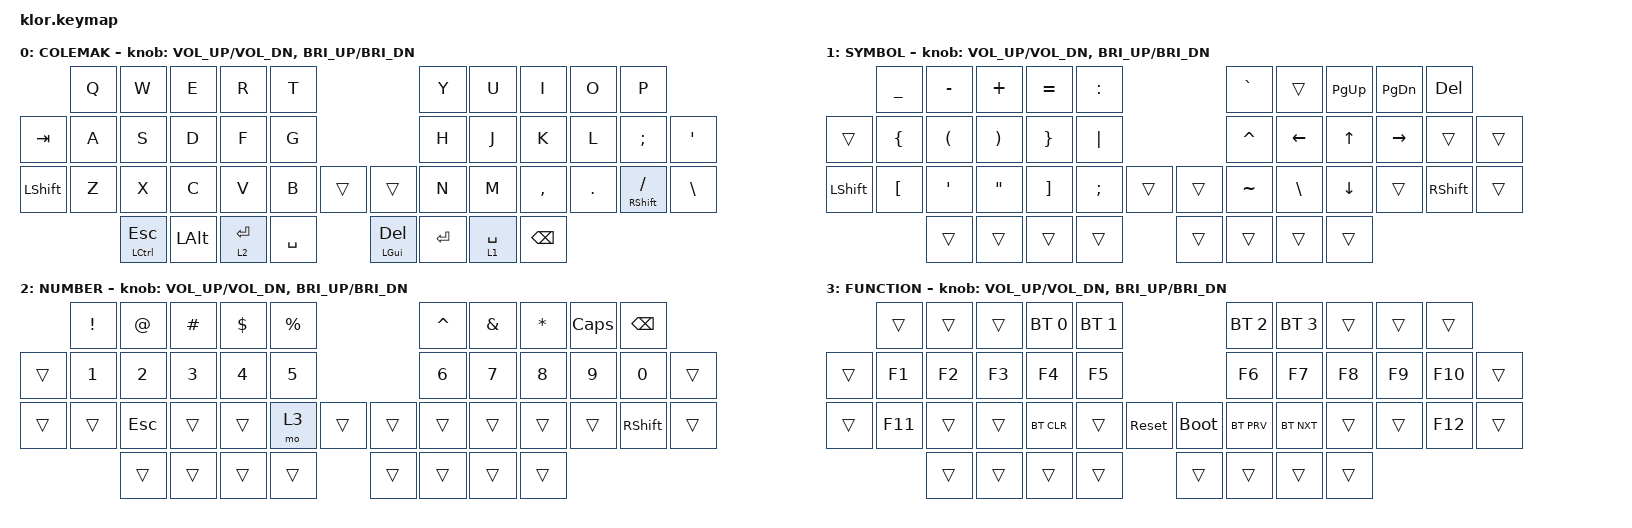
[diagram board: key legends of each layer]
#include <behaviors.dtsi>
#include <dt-bindings/zmk/bt.h>
#include <dt-bindings/zmk/keys.h>

&lt { quick-tap-ms = <0>; };

// keep it high until you're familiar with keyboard to avoid misclicks
// later lower it to <= 200
&mt {
    tapping-term-ms = <200>;
};

// DO NOT MAKE LAYER LABELS LARGER

/ {
    keymap {
        compatible = "zmk,keymap";

// ▄▄▄▄▄▄▄▄▄▄▄▄▄▄▄▄▄▄▄▄▄▄▄▄▄▄▄▄▄▄▄▄▄▄▄▄▄▄▄▄▄▄▄▄▄▄▄▄▄▄▄▄▄▄▄▄▄▄▄▄▄▄▄▄▄▄▄▄▄▄▄▄▄▄▄▄▄▄▄▄▄▄▄▄▄▄▄▄▄▄▄▄▄▄▄▄▄▄▄▄▄▄▄▄▄▄▄▄▄▄▄▄▄▄▄▄▄▄▄▄▄▄▄▄▄▄▄▄▄▄▄▄▄▄▄▄▄▄▄▄▄▄

 colemak {
// ┌───────────────────────────────────────────────────────────┐
display-name = "COLEMAK"                                       ;
// └───────────────────────────────────────────────────────────┘
/*           ┌─────────┬─────────┬─────────┬─────────┬─────────┐                    ┌─────────┬─────────┬─────────┬─────────┬─────────┐
             │    Q    │    W    │    E    │    R    │    T    │                    │    Y    │    U    │    I    │    O    │    P    │   
   ┌─────────┼─────────┼─────────┼─────────┼─────────┼─────────┤                    ├─────────┼─────────┼─────────┼─────────┼─────────┼─────────┐
   │   TAB   │    A    │    S    │    D    │    F    │    G    │                    │    H    │    J    │    K    │    L    │    ;    │    "    │
   ├─────────┼─────────┼─────────┼─────────┼─────────┼─────────┤╭────────╮╭────────╮├─────────┼─────────┼─────────┼─────────┼─────────┼─────────┤
   │   DEL   │    Z    │    X    │    C    │    V    │    B    ││  MUTE  ││PLY/PSE ││    N    │    M    │    ,    │    .    │    /    │    \    │
   └─────────┴─────────┴─────────┼─────────┼─────────┼─────────┼╰────────╯╰────────╯┼─────────┼─────────┼─────────┼─────────┴─────────┴─────────┘
                                 │  CTRL   │  ALT    │  LOWER  │   SPACE ││ CMD/WIN │  ENTER  │  RAISE  │  BSPCE  │  
                                 └─────────┴─────────┴─────────┴─────────┘└─────────┴─────────┴─────────┴─────────┘ */ 
 bindings = <
 //╷         ╷         ╷         ╷         ╷         ╷         ╷         ╷╷         ╷         ╷         ╷         ╷         ╷         ╷         ╷
              &kp Q     &kp W     &kp E     &kp R     &kp T                          &kp Y     &kp U     &kp I     &kp O     &kp P
    &kp TAB   &kp A     &kp S     &kp D     &kp F     &kp G                          &kp H     &kp J     &kp K     &kp L     &kp SEMI          &kp SQT
    &kp LSHFT &kp Z     &kp X     &kp C     &kp V     &kp B     &trans     &trans    &kp N     &kp M     &kp COMMA &kp DOT   &mt RSHIFT FSLH   &kp BSLH
                            &mt LCTRL ESC &kp LALT &lt 2 RET  &kp SPACE  &mt LGUI DEL &kp RET &lt 1 SPACE &kp BSPC    
                        >;
            sensor-bindings = <&inc_dec_kp C_VOL_UP C_VOL_DN &inc_dec_kp C_BRI_UP C_BRI_DN>;
                };
// ▄▄▄▄▄▄▄▄▄▄▄▄▄▄▄▄▄▄▄▄▄▄▄▄▄▄▄▄▄▄▄▄▄▄▄▄▄▄▄▄▄▄▄▄▄▄▄▄▄▄▄▄▄▄▄▄▄▄▄▄▄▄▄▄▄▄▄▄▄▄▄▄▄▄▄▄▄▄▄▄▄▄▄▄▄▄▄▄▄▄▄▄▄▄▄▄▄▄▄▄▄▄▄▄▄▄▄▄▄▄▄▄▄▄▄▄▄▄▄▄▄▄▄▄▄▄▄▄▄▄▄▄▄▄▄▄▄▄▄▄▄▄ 

sym {
            display-name = "SYMBOL";
// ┌───────────────────────────────────────────────────────────┐
label= "RAISE / 1"                                                 ;
// └───────────────────────────────────────────────────────────┘
/*           ┌─────────┬─────────┬─────────┬─────────┬─────────┐                    ┌─────────┬─────────┬─────────┬─────────┬─────────┐
             │    _    │    -    │    +    │    =    │    :    │                    │    `    │         │   PG_UP │  PG_DN  │         │
   ┌─────────┼─────────┼─────────┼─────────┼─────────┼─────────┤                    ├─────────┼─────────┼─────────┼─────────┼─────────┼─────────┐
   │         │         │         │         │         │         │                    │         │         │         │         │         │         │
   ├─────────┼─────────┼─────────┼─────────┼─────────┼─────────┤╭────────╮╭────────╮├─────────┼─────────┼─────────┼─────────┼─────────┼─────────┤
   │         │         │         │         │         │         ││        ││        ││    ~    │         │         │         │         │         │
   └─────────┴─────────┴─────────┼─────────┼─────────┼─────────┼╰────────╯╰────────╯┼─────────┼─────────┼─────────┼─────────┴─────────┴─────────┘
                                 │         │         │         │         ││         │         │         │         │  
                                 └─────────┴─────────┴─────────┴─────────┘└─────────┴─────────┴─────────┴─────────┘ */ 
 bindings = <
        &kp UNDER        &kp MINUS  &kp PLUS  &kp EQUAL  &kp COLON                        &kp GRAVE   &trans      &kp PG_UP  &kp PG_DN    &kp DEL
&trans  &kp LBRC         &kp LPAR   &kp RPAR  &kp RBRC   &kp PIPE                         &kp CARET   &kp LEFT    &kp UP     &kp RIGHT    &trans     &trans
&kp LSHFT  &kp LBKT      &kp SQT    &kp DQT   &kp RBKT   &kp SEMI       &trans    &trans  &kp TILDE   &kp BSLH    &kp DOWN   &trans       &kp RSHIFT &trans    
                                    &trans    &trans     &trans         &trans    &trans  &trans      &trans      &trans
            >;

                sensor-bindings = <&inc_dec_kp C_VOL_UP C_VOL_DN &inc_dec_kp C_BRI_UP C_BRI_DN>;
                };

num {
            display-name = "NUMBER";
// ┌───────────────────────────────────────────────────────────┐
label= "LOWER/2"                                                 ;
// └───────────────────────────────────────────────────────────┘
/*           ┌─────────┬─────────┬─────────┬─────────┬─────────┐                    ┌─────────┬─────────┬─────────┬─────────┬─────────┐
             │   !     │         │         │         │    %    │                    │    ^    │         │         │         │         │
   ┌─────────┼─────────┼─────────┼─────────┼─────────┼─────────┤                    ├─────────┼─────────┼─────────┼─────────┼─────────┼─────────┐
   │         │   1     │         │         │         │    5    │                    │    6    │         │         │         │    0    │         │
   ├─────────┼─────────┼─────────┼─────────┼─────────┼─────────┤╭────────╮╭────────╮├─────────┼─────────┼─────────┼─────────┼─────────┼─────────┤
   │         │         │ ESC     │         │         │  FUNCTI ││        ││        ││         │         │         │         │         │         │
   └─────────┴─────────┴─────────┼─────────┼─────────┼─────────┼╰────────╯╰────────╯┼─────────┼─────────┼─────────┼─────────┴─────────┴─────────┘
                                 │         │         │         │         ││         │         │         │         │  
                                 └─────────┴─────────┴─────────┴─────────┘└─────────┴─────────┴─────────┴─────────┘ */ 
bindings = <
        &kp EXCL   &kp AT  &kp HASH  &kp DLLR  &kp PRCNT                     &kp CARET  &kp AMPS   &kp STAR  &kp CAPS  &kp BACKSPACE
&trans  &kp N1     &kp N2  &kp N3    &kp N4    &kp N5                        &kp N6     &kp N7     &kp N8    &kp N9    &kp N0      &trans
&trans  &trans     &kp ESC  &trans   &trans    &mo 3      &trans     &trans  &trans     &trans     &trans    &trans    &kp RSHIFT  &trans
                           &trans    &trans    &trans     &trans     &trans  &trans     &trans     &trans
            >;

           sensor-bindings = <&inc_dec_kp C_VOL_UP C_VOL_DN &inc_dec_kp C_BRI_UP C_BRI_DN>;
                };

        fun {
            display-name = "FUNCTION";
            bindings = <
        &trans   &trans   &trans   &bt BT_SEL 0  &bt BT_SEL 1                                &bt BT_SEL 2  &bt BT_SEL 3  &trans  &trans  &trans
&trans  &kp F1   &kp F2   &kp F3   &kp F4        &kp F5                                      &kp F6        &kp F7        &kp F8  &kp F9  &kp F10  &trans
&trans  &kp F11  &trans   &trans   &bt BT_CLR    &trans        &sys_reset       &bootloader  &bt BT_PRV    &bt BT_NXT    &trans  &trans  &kp F12  &trans
                          &trans   &trans        &trans        &trans           &trans       &trans        &trans        &trans
            >;

            sensor-bindings = <&inc_dec_kp C_VOL_UP C_VOL_DN &inc_dec_kp C_BRI_UP C_BRI_DN>;
        };
    };
};
